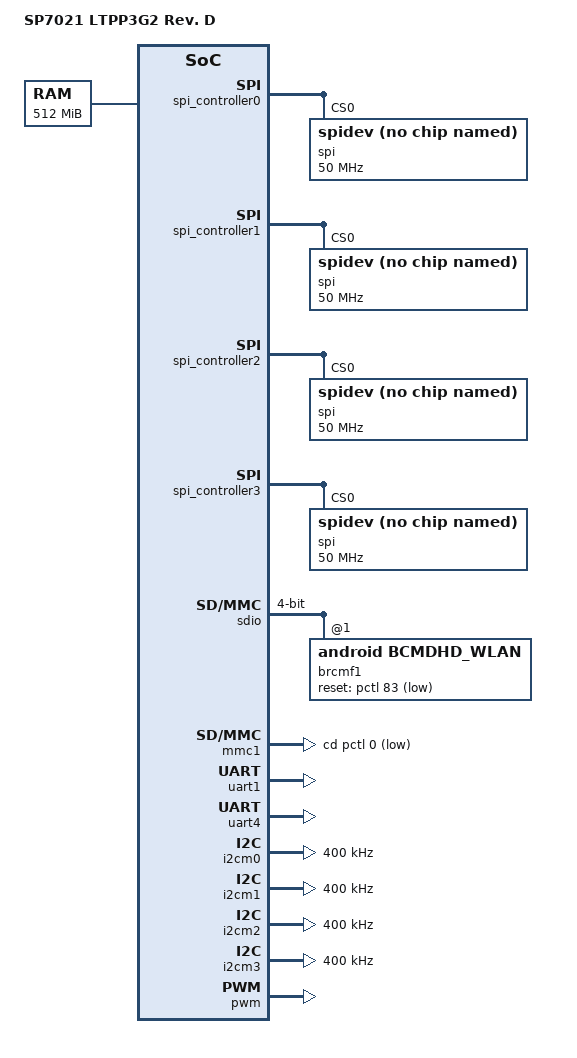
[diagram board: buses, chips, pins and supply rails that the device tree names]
/dts-v1/;

#include "sp7021-ChipC.dtsi"

/ {
	model = "SP7021 LTPP3G2 Rev. D";

	chosen {
		bootargs = "console=ttyS0,115200 root=/dev/ram rw loglevel=8 earlyprintk";
		stdout-path = "serial0:115200n8";
	};
	memory {
		reg = <0x00000000 0x20000000>; /* 512MB */
	};
};

&rtc {  charging-mode = <0x0E>;  };

&sp_spinor0 {  status = "disabled";  };

&spi_controller0 {
pinctrl-names = "default";
	pinctrl-0 = <&spim0_pins>;
	#address-cells = <1>;
	#size-cells = <0>;
	spi@0{    
		compatible = "rohm,dh2228fv";	
		reg = <0x0>;
		spi-max-frequency = <50000000>;		
		status = "okay";
	};
};

&spi_controller1 {
	pinctrl-names = "default";
	pinctrl-0 = <&spim1_pins>;
	#address-cells = <1>;
	#size-cells = <0>;
	spi@0{    
		compatible = "rohm,dh2228fv";	
		reg = <0x0>;
		spi-max-frequency = <50000000>;
		status = "okay";
	};
};

&spi_controller2 {
	pinctrl-names = "default";
	pinctrl-0 = <&spim2_pins>;
	#address-cells = <1>;
	#size-cells = <0>;
	spi@0{    
		compatible = "rohm,dh2228fv";	
		reg = <0x0>;
		spi-max-frequency = <50000000>;		
		status = "okay";
	};
};

&spi_controller3 {
	pinctrl-names = "default";
	pinctrl-0 = <&spim3_pins>;
	#address-cells = <1>;
	#size-cells = <0>;
	spi@0{    
		compatible = "rohm,dh2228fv";	
		reg = <0x0>;
		spi-max-frequency = <50000000>;		
		status = "okay";
	};
};


&sdio {
 pinctrl-names = "default";
 pinctrl-0 = <&pins_sdio &pins_sdio_reset>;
 bus-width = <4>;
 max-frequency = <40000000>; /* up to 52 */
 // this: enable
 status = "okay";
 brcmf1: bcrmf@1 {
   reg = <1>;
   compatible = "android,bcmdhd_wlan";
   reset-gpios = <&pctl 83 GPIO_ACTIVE_LOW>;
 };
};

&sp_uphy0 {
 pinctrl-names = "default";
 pinctrl-0 = <&pins_vbus_usb0>;
 vbus-gpio = <&pctl 90 GPIO_ACTIVE_HIGH>;
};

&sp_uphy1 {
  pinctrl-names = "default";
  pinctrl-0 = <&pins_vbus_usb1>;
  vbus-gpio = <&pctl 91 GPIO_ACTIVE_HIGH>;
};

&l2sw {
 pinctrl-names = "default";
 pinctrl-0 = <&ethA_pins &eth0_pins &eth1_pins>;
};

&mmc0 {
 pinctrl-names = "default";
 pinctrl-0 = <&emmc_mux>;
};

&mmc1 {
 pinctrl-names = "default";
 pinctrl-0 = <&mmc1_mux>;
 cd-gpios = <&pctl 0 GPIO_ACTIVE_LOW>;
};

&hdmitx {
 pinctrl-names = "default";
 pinctrl-0 = <&hdmi_A_tx1>;
};

&uart1 {
 pinctrl-names = "default";
 pinctrl-0 = <&pins_uart1>;
 status = "okay";
 // this: enable, pins_uart1
};

&uart2 {
 pinctrl-names = "default";
 pinctrl-0 = <&pins_uart2>;
 status = "disabled";
 // this: enable, pins_uart2
};

&uart3 {
 pinctrl-names = "default";
 pinctrl-0 = <&pins_uart3>;
 status = "disabled";
 // this: enable, pins_uart3
};

&uart4 {
 pinctrl-names = "default";
 /* pinctrl-0 = <&pins_uart4>; */
 pinctrl-0 = <&pins_btuart &pins_bt_reset>;
 status = "okay";
 // this: enable (bt) | enable (uart4), pins_uart4
};

&i2cm0 {
	clock-frequency = <400000>;
	pinctrl-names = "default";
	pinctrl-0 = <&i2cm0_pins>;
	status = "okay";
};

&i2cm1 {
	clock-frequency = <400000>;
	pinctrl-names = "default";
	pinctrl-0 = <&i2cm1_pins>;
	status = "okay";
};

&i2cm2 {
	clock-frequency = <400000>;
	pinctrl-names = "default";
	pinctrl-0 = <&i2cm2_pins>;
	status = "okay";
};

&i2cm3 {
	clock-frequency = <400000>;
	pinctrl-names = "default";
	pinctrl-0 = <&i2cm3_pins>;
	status = "okay";
};

&sp_display {
	ui_width = <1280>;
	ui_height = <720>;
	ui_format = <0x8>;
		/* 0x2 = 8bpp (ARGB)
		 * 0x4 = YUY2
		 * 0x8 = RGB565
		 * 0x9 = ARGB1555
		 * 0xa = RGBA4444
		 * 0xb = ARGB4444
		 * 0xd = RGBA8888
		  0xe = ARGB8888 */
};

&pwm {
	pinctrl-names = "default";
	pinctrl-0 = <&buzzer0_pins>;
	status = "okay";
};

&pctl {
 /*** all non-device binded that you want to set mode ***/
 pinctrl-names = "default";
 pinctrl-0 = <&pins_iopp_nobinded &pins_gpio_nobinded &func_zero>;

 /* detouch any preset pins from this functions */
 func_zero: func_zero {
   sppctl,zero_func = <
     MUXF_L2SW_LED_FLASH0
     MUXF_L2SW_LED_ON0
     MUXF_L2SW_LED_FLASH1
     MUXF_L2SW_LED_ON1
     MUXF_L2SW_P0_MAC_RMII_RXER
     MUXF_L2SW_P1_MAC_RMII_RXER
   >;
 };
 
 pins_iopp_nobinded: pins_iopp_nobinded {
    sppctl,pins = <
    /* SPPCTL_IOPAD(97,SPPCTL_PCTL_G_IOPP,0,0) */
    >;
 };
 pins_gpio_nobinded: pins_gpio_nobinded {
    sppctl,pins = <
      SPPCTL_IOPAD(42,SPPCTL_PCTL_G_GPIO,0,0)   /* was L2SW_LED_FLASH0 */
      /*SPPCTL_IOPAD(51,SPPCTL_PCTL_G_GPIO,0,0)*/   /* was L2SW_LED_ON0 */
      SPPCTL_IOPAD(30,SPPCTL_PCTL_G_GPIO,0,0)   /* was L2SW_LED_FLASH1 */
      SPPCTL_IOPAD(39,SPPCTL_PCTL_G_GPIO,0,0)   /* was L2SW_LED_ON1  */
    >;
 };

 pins_vbus_usb0: pins_vbus_usb0 {
	sppctl,pins = <
	  SPPCTL_IOPAD(90,SPPCTL_PCTL_G_GPIO,0,SPPCTL_PCTL_L_OUT)
	>;
 };
 pins_vbus_usb1: pins_vbus_usb1 {
    sppctl,pins = <
	  SPPCTL_IOPAD(91,SPPCTL_PCTL_G_GPIO,0,SPPCTL_PCTL_L_OUT)
	>;
 };

 leds_s0_def: user_leds_s0_def {
    sppctl,pins = <
      SPPCTL_IOPAD(6,SPPCTL_PCTL_G_GPIO,MUXF_GPIO,SPPCTL_PCTL_L_INV)
      SPPCTL_IOPAD(7,SPPCTL_PCTL_G_GPIO,0,SPPCTL_PCTL_L_INV)
    >;
 };
 leds_s0_slp: user_leds_s0_slp {
    sppctl,pins = <
      SPPCTL_IOPAD(6,SPPCTL_PCTL_G_GPIO,0,0)
      SPPCTL_IOPAD(7,SPPCTL_PCTL_G_GPIO,0,0)
    >;
 };
 tpsleds_pins: user_tpsleds_pins {
    sppctl,pins = <
      SPPCTL_IOPAD(4,SPPCTL_PCTL_G_GPIO,0,0)
      SPPCTL_IOPAD(5,SPPCTL_PCTL_G_GPIO,0,0)
    >;
 };

 i2cm0_pins: i2cm0_pins {
    sppctl,pins = <>;};

 i2cm1_pins: i2cm1_pins {
    sppctl,pins = <>;
 };

 i2cm2_pins: i2cm2_pins {
    sppctl,pins = <>;
 }; 

 i2cm3_pins: i2cm3_pins {
    sppctl,pins = <>;
 }; 

 spim0_pins: spim0_pins {
    sppctl,pins = <>;
 };

 spim1_pins: spim1_pins {
    sppctl,pins = <>;
 };

 spim2_pins: spim2_pins {
    sppctl,pins = <>;
 };

 spim3_pins: spim3_pins {
    sppctl,pins = <>;
 };

 pins_uart1: pins_uart1 {
    sppctl,pins = <>;
 };

 pins_uart2: pins_uart2 {
    sppctl,pins = <>;
 };

 pins_uart3: pins_uart3 {
    sppctl,pins = <>;
 };

 pins_uart4: pins_uart4 {
    sppctl,pins = <>;
 };

 pins_btuart: pins_btuart {
    sppctl,pins = <
      SPPCTL_IOPAD(40,SPPCTL_PCTL_G_PMUX,MUXF_UA4_RX,0)
      SPPCTL_IOPAD(41,SPPCTL_PCTL_G_PMUX,MUXF_UA4_TX,0)
      SPPCTL_IOPAD(56,SPPCTL_PCTL_G_PMUX,MUXF_UA4_RTS,SPPCTL_PCTL_L_ONV)
      SPPCTL_IOPAD(49,SPPCTL_PCTL_G_PMUX,MUXF_UA4_CTS,0)
    >;
 };
 pins_bt_reset: pins_bt_reset {
    sppctl,pins = <
      SPPCTL_IOPAD(82,SPPCTL_PCTL_G_GPIO,0,0)
    >;
 };
 buzzer0_pins: user_buzzer0_pins {
    sppctl,pins = <
      SPPCTL_IOPAD(48,SPPCTL_PCTL_G_PMUX,MUXF_PWM0,0)
    >;
 };
 pins_i2ctps: pins_i2ctps {
    sppctl,pins = <
      SPPCTL_IOPAD(1,SPPCTL_PCTL_G_GPIO,0,SPPCTL_PCTL_L_OUT|SPPCTL_PCTL_L_ONV|SPPCTL_PCTL_L_ODR)
      SPPCTL_IOPAD(2,SPPCTL_PCTL_G_GPIO,0,SPPCTL_PCTL_L_OUT|SPPCTL_PCTL_L_ONV|SPPCTL_PCTL_L_ODR)
    >;
 };
 hdmi_A_tx1: hdmi_A_tx1_pins {
    sppctl,groups = "HDMI_TX1";
    sppctl,function = "HDMI_TX";
 };
 /* for all eth */
 ethA_pins: pinmux_ethA_pins {
  sppctl,pins = <
       SPPCTL_IOPAD(63,SPPCTL_PCTL_G_PMUX,MUXF_L2SW_CLK_OUT,0)
       SPPCTL_IOPAD(71,SPPCTL_PCTL_G_PMUX,MUXF_L2SW_MAC_SMI_MDC,0)
       SPPCTL_IOPAD(64,SPPCTL_PCTL_G_PMUX,MUXF_L2SW_MAC_SMI_MDIO,0)
  >;
 };
 eth0_pins: pinmux_eth0_pins {
  sppctl,pins = <
       SPPCTL_IOPAD(62,SPPCTL_PCTL_G_PMUX,MUXF_L2SW_P0_MAC_RMII_TXEN,0)
       SPPCTL_IOPAD(61,SPPCTL_PCTL_G_PMUX,MUXF_L2SW_P0_MAC_RMII_TXD0,0)
       SPPCTL_IOPAD(60,SPPCTL_PCTL_G_PMUX,MUXF_L2SW_P0_MAC_RMII_TXD1,0)
       SPPCTL_IOPAD(59,SPPCTL_PCTL_G_PMUX,MUXF_L2SW_P0_MAC_RMII_CRSDV,0)
       SPPCTL_IOPAD(58,SPPCTL_PCTL_G_PMUX,MUXF_L2SW_P0_MAC_RMII_RXD0,0)
       SPPCTL_IOPAD(57,SPPCTL_PCTL_G_PMUX,MUXF_L2SW_P0_MAC_RMII_RXD1,0)
  >;
 };
 eth1_pins: pinmux_eth1_pins {
  sppctl,pins = <
       SPPCTL_IOPAD(55,SPPCTL_PCTL_G_PMUX,MUXF_L2SW_P1_MAC_RMII_TXEN,0)
       SPPCTL_IOPAD(54,SPPCTL_PCTL_G_PMUX,MUXF_L2SW_P1_MAC_RMII_TXD0,0)
       SPPCTL_IOPAD(53,SPPCTL_PCTL_G_PMUX,MUXF_L2SW_P1_MAC_RMII_TXD1,0)
       SPPCTL_IOPAD(52,SPPCTL_PCTL_G_PMUX,MUXF_L2SW_P1_MAC_RMII_CRSDV,0)
       SPPCTL_IOPAD(51,SPPCTL_PCTL_G_PMUX,MUXF_L2SW_P1_MAC_RMII_RXD0,0)
       SPPCTL_IOPAD(50,SPPCTL_PCTL_G_PMUX,MUXF_L2SW_P1_MAC_RMII_RXD1,0)
  >;
 };

 mmc1_mux: mmc1_mux {
	sppctl,groups = "SD_CARD";
	sppctl,function = "SD_CARD";
	sppctl,pins = < SPPCTL_IOPAD(0,SPPCTL_PCTL_G_GPIO,0,0) >;
 };
 pins_sdio: pins_sdio {
	sppctl,pins = <
		SPPCTL_IOPAD(44,SPPCTL_PCTL_G_PMUX,MUXF_SDIO_D1,0)
		SPPCTL_IOPAD(45,SPPCTL_PCTL_G_PMUX,MUXF_SDIO_D0,0)
		SPPCTL_IOPAD(46,SPPCTL_PCTL_G_PMUX,MUXF_SDIO_CLK,0)
		SPPCTL_IOPAD(47,SPPCTL_PCTL_G_PMUX,MUXF_SDIO_CMD,0)
		SPPCTL_IOPAD(42,SPPCTL_PCTL_G_PMUX,MUXF_SDIO_D3,0)
		SPPCTL_IOPAD(43,SPPCTL_PCTL_G_PMUX,MUXF_SDIO_D2,0) >;
 };
 pins_sdio_reset: pins_sdio_reset {
	sppctl,pins = <
		/* additional reset pin for BRCM */
		SPPCTL_IOPAD(83,SPPCTL_PCTL_G_GPIO,0,SPPCTL_PCTL_L_OU1)
	>;
 };

};

/ {
	soc@B {
		tpsid {
        	compatible = "tpsid";
		    nvmem-cell-names = "mac_addr0";
		    nvmem-cells = <&mac_addr0>;
		};
	};
};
